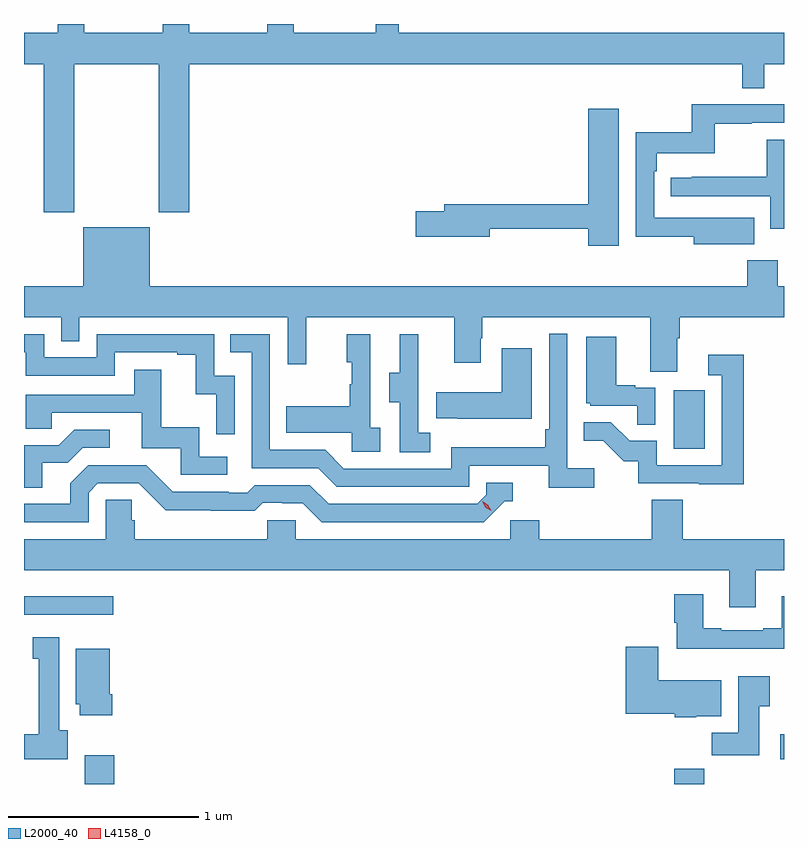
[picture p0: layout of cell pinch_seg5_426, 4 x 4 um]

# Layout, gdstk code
import gdstk
lib = gdstk.Library(unit=1e-6, precision=1e-09)
def R(c, l, rs):  # rectangles x0, y0, x1, y1
    for r in rs: c.add(gdstk.rectangle(r[:2], r[2:], *l))
def P(c, l, *ps):  # polygons
    for p in ps: c.add(gdstk.Polygon(p, *l))
L2000_40 = (2000, 40)
L4158_0 = (4158, 0)

pinch_seg5_426 = lib.new_cell('pinch_seg5_426')
R(pinch_seg5_426, L2000_40, [(949.919,854.303,950.072,854.455), (953.021,854.303,953.177,854.384), (953.577,854.432,953.598,854.566), (949.598,855.195,950.068,855.292), (953.018,856.068,953.182,856.375)])
P(pinch_seg5_426, L2000_40, [(949.863,858.092),(950.308,858.092),(950.308,857.313),(950.468,857.313),(950.468,858.092),(953.377,858.092),(953.377,857.965),(953.493,857.965),(953.493,858.092),(953.598,858.092),(953.598,858.256),(951.571,858.256),(951.571,858.303),(951.449,858.303),(951.449,858.256),(951.019,858.256),(951.019,858.303),(950.879,858.303),(950.879,858.256),(950.467,858.256),(950.467,858.303),(950.327,858.303),(950.327,858.256),(949.915,858.256),(949.915,858.303),(949.775,858.303),(949.775,858.256),(949.598,858.256),(949.598,858.092),(949.703,858.092),(949.703,857.313),(949.863,857.313)],
  [(953.441,857.284),(953.227,857.284),(953.227,857.283),(952.914,857.283),(952.914,857.528),(952.928,857.528),(952.928,857.624),(953.233,857.624),(953.233,857.779),(953.429,857.779),(953.429,857.784),(953.598,857.784),(953.598,857.88),(953.112,857.88),(953.112,857.734),(952.818,857.734),(952.818,857.182),(953.123,857.182),(953.123,857.144),(953.441,857.144)],
  [(952.729,857.857),(952.568,857.857),(952.568,857.354),(951.809,857.354),(951.809,857.318),(951.66,857.318),(951.66,857.183),(952.048,857.183),(952.048,857.226),(952.568,857.226),(952.568,857.136),(952.729,857.136)],
  [(953.598,857.694),(953.506,857.694),(953.506,857.498),(953.113,857.498),(953.113,857.493),(953.001,857.493),(953.001,857.397),(953.526,857.397),(953.526,857.225),(953.598,857.225)],
  [(953.035,856.648),(953.048,856.648),(953.048,856.76),(953.598,856.76),(953.598,856.924),(953.565,856.924),(953.565,857.059),(953.405,857.059),(953.405,856.924),(950.26,856.924),(950.26,857.233),(949.91,857.233),(949.91,856.924),(949.598,856.924),(949.598,856.76),(949.794,856.76),(949.794,856.633),(949.89,856.633),(949.89,856.76),(950.985,856.76),(950.985,856.512),(951.083,856.512),(951.083,856.76),(951.863,856.76),(951.863,856.521),(952.003,856.521),(952.003,856.649),(952.011,856.649),(952.011,856.76),(952.895,856.76),(952.895,856.474),(953.035,856.474)],
  [(952.6,855.964),(952.458,855.964),(952.458,856.672),(952.362,856.672),(952.362,856.171),(952.342,856.171),(952.342,856.075),(951.846,856.075),(951.846,855.963),(951.282,855.963),(951.183,856.062),(950.892,856.062),(950.892,856.671),(950.683,856.671),(950.683,856.575),(950.796,856.575),(950.796,855.966),(951.146,855.966),(951.245,855.867),(951.942,855.867),(951.942,855.978),(952.361,855.978),(952.361,855.862),(952.6,855.862)],
  [(950.706,856.452),(950.598,856.452),(950.598,856.671),(949.98,856.671),(949.98,856.548),(949.704,856.548),(949.704,856.671),(949.598,856.671),(949.598,856.575),(949.608,856.575),(949.608,856.452),(950.076,856.452),(950.076,856.575),(950.405,856.575),(950.405,856.563),(950.501,856.563),(950.501,856.355),(950.61,856.355),(950.61,856.143),(950.706,856.143)],
  [(951.736,856.151),(951.672,856.151),(951.672,856.455),(951.674,856.455),(951.674,856.669),(951.575,856.669),(951.575,856.467),(951.521,856.467),(951.521,856.312),(951.576,856.312),(951.576,856.048),(951.736,856.048)],
  [(951.472,856.178),(951.42,856.178),(951.42,856.669),(951.296,856.669),(951.296,856.524),(951.322,856.524),(951.322,856.406),(951.312,856.406),(951.312,856.291),(950.977,856.291),(950.977,856.151),(951.324,856.151),(951.324,856.053),(951.472,856.053)],
  [(952.92,856.389),(952.814,856.389),(952.814,856.402),(952.714,856.402),(952.714,856.657),(952.556,856.657),(952.556,856.308),(952.578,856.308),(952.578,856.293),(952.825,856.293),(952.825,856.195),(952.92,856.195)],
  [(952.27,856.597),(952.112,856.597),(952.112,856.366),(951.769,856.366),(951.769,856.229),(951.877,856.229),(951.877,856.226),(952.27,856.226)],
  [(953.387,856.561),(953.199,856.561),(953.199,856.455),(953.271,856.455),(953.271,855.981),(952.929,855.981),(952.929,856.11),(952.785,856.11),(952.687,856.208),(952.543,856.208),(952.543,856.109),(952.647,856.109),(952.754,856.002),(952.831,856.002),(952.831,855.885),(953.149,855.885),(953.149,855.88),(953.387,855.88)],
  [(950.668,856.026),(950.52,856.026),(950.52,856.18),(950.321,856.18),(950.321,856.483),(950.177,856.483),(950.177,856.353),(949.608,856.353),(949.608,856.173),(949.745,856.173),(949.745,856.257),(950.219,856.257),(950.219,856.071),(950.424,856.071),(950.424,855.93),(950.668,855.93)],
  [(949.693,855.994),(949.828,855.994),(949.908,856.074),(950.05,856.074),(950.05,856.167),(949.862,856.167),(949.781,856.086),(949.598,856.086),(949.598,855.862),(949.693,855.862)],
  [(949.938,855.837),(949.986,855.885),(950.202,855.885),(950.344,855.743),(950.58,855.743),(950.58,855.741),(950.813,855.741),(950.855,855.783),(950.958,855.783),(950.958,855.78),(951.065,855.78),(951.164,855.681),(952.017,855.681),(952.128,855.792),(952.171,855.792),(952.171,855.888),(952.032,855.888),(952.032,855.825),(951.984,855.777),(951.201,855.777),(951.102,855.876),(950.813,855.876),(950.774,855.837),(950.675,855.837),(950.675,855.84),(950.382,855.84),(950.241,855.981),(949.935,855.981),(949.841,855.887),(949.841,855.777),(949.598,855.777),(949.598,855.681),(949.938,855.681)],
  [(953.449,855.428),(953.598,855.428),(953.598,855.592),(953.066,855.592),(953.066,855.8),(952.901,855.8),(952.901,855.592),(952.31,855.592),(952.31,855.69),(952.158,855.69),(952.158,855.592),(951.027,855.592),(951.027,855.69),(950.877,855.69),(950.877,855.592),(950.18,855.592),(950.18,855.69),(950.165,855.69),(950.165,855.8),(950.028,855.8),(950.028,855.592),(949.598,855.592),(949.598,855.428),(953.309,855.428),(953.309,855.234),(953.449,855.234)],
  [(953.598,855.292),(953.585,855.292),(953.585,855.124),(953.489,855.124),(953.489,855.111),(953.269,855.111),(953.269,855.124),(953.173,855.124),(953.173,855.301),(953.021,855.301),(953.021,855.153),(953.033,855.153),(953.033,855.014),(953.598,855.014)],
  [(949.828,854.586),(949.783,854.586),(949.783,855.076),(949.643,855.076),(949.643,854.963),(949.676,854.963),(949.676,854.566),(949.598,854.566),(949.598,854.432),(949.828,854.432)],
  [(953.136,854.66),(953.269,854.66),(953.269,854.848),(952.936,854.848),(952.936,855.025),(952.766,855.025),(952.766,854.672),(953.022,854.672),(953.022,854.654),(953.136,854.654)],
  [(950.063,854.776),(950.05,854.776),(950.05,855.016),(949.871,855.016),(949.871,854.724),(949.892,854.724),(949.892,854.664),(950.063,854.664)],
  [(953.467,854.713),(953.524,854.713),(953.524,854.869),(953.357,854.869),(953.357,854.572),(953.218,854.572),(953.218,854.454),(953.467,854.454)])
P(pinch_seg5_426, L4158_0, [(952.056,855.74),(952.025,855.759),(952.009,855.791),(952.009,855.792),(952.009,855.792),(952.04,855.772),(952.056,855.74),(952.056,855.74)])

lib.write_gds('pinch_seg5_426.gds')
